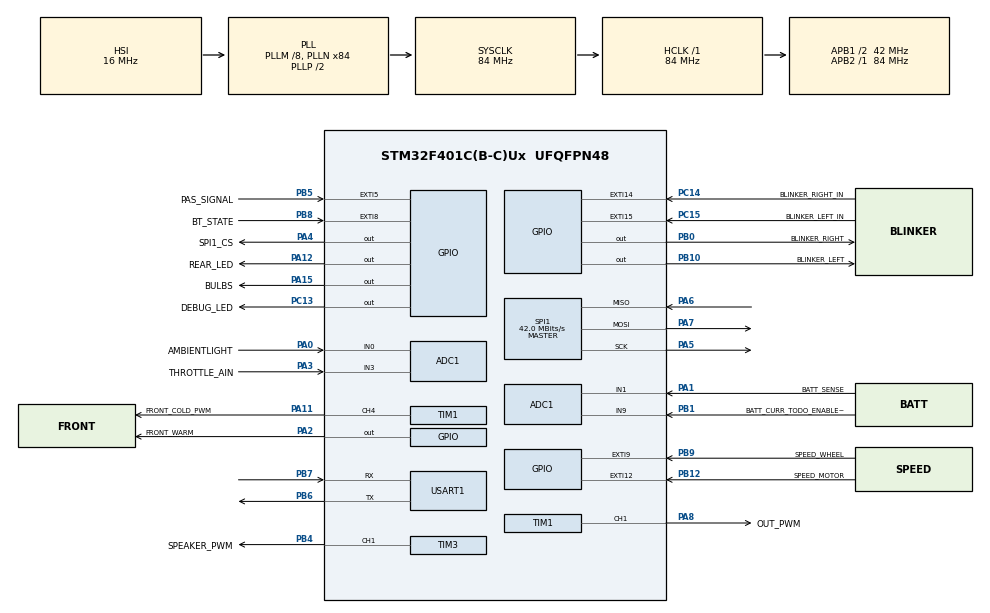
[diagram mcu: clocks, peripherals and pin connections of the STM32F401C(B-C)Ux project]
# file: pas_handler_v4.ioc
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ADC1.Channel-16\#ChannelRegularConversion=ADC_CHANNEL_1
ADC1.Channel-17\#ChannelRegularConversion=ADC_CHANNEL_0
ADC1.Channel-18\#ChannelRegularConversion=ADC_CHANNEL_3
ADC1.Channel-19\#ChannelRegularConversion=ADC_CHANNEL_9
ADC1.ClockPrescaler=ADC_CLOCK_SYNC_PCLK_DIV8
ADC1.ContinuousConvMode=ENABLE
ADC1.DMAContinuousRequests=ENABLE
ADC1.ExternalTrigConv=ADC_SOFTWARE_START
ADC1.NbrOfConversion=4
ADC1.NbrOfConversionFlag=1
ADC1.Rank-16\#ChannelRegularConversion=1
ADC1.Rank-17\#ChannelRegularConversion=2
ADC1.Rank-18\#ChannelRegularConversion=3
ADC1.Rank-19\#ChannelRegularConversion=4
ADC1.SamplingTime-16\#ChannelRegularConversion=ADC_SAMPLETIME_84CYCLES
ADC1.SamplingTime-17\#ChannelRegularConversion=ADC_SAMPLETIME_84CYCLES
ADC1.SamplingTime-18\#ChannelRegularConversion=ADC_SAMPLETIME_28CYCLES
ADC1.SamplingTime-19\#ChannelRegularConversion=ADC_SAMPLETIME_84CYCLES
ADC1.ScanConvMode=ENABLE
ADC1.master=1
Dma.ADC1.0.Direction=DMA_PERIPH_TO_MEMORY
Dma.ADC1.0.FIFOMode=DMA_FIFOMODE_DISABLE
Dma.ADC1.0.Instance=DMA2_Stream0
Dma.ADC1.0.MemDataAlignment=DMA_MDATAALIGN_HALFWORD
Dma.ADC1.0.MemInc=DMA_MINC_ENABLE
Dma.ADC1.0.Mode=DMA_CIRCULAR
Dma.ADC1.0.PeriphDataAlignment=DMA_PDATAALIGN_HALFWORD
Dma.ADC1.0.PeriphInc=DMA_PINC_DISABLE
Dma.ADC1.0.Priority=DMA_PRIORITY_LOW
Dma.Request0=ADC1
Mcu.Family=STM32F4
Mcu.Name=STM32F401C(B-C)Ux
Mcu.Package=UFQFPN48
NVIC.ADC_IRQn=true\:1\:0\:true\:false\:true\:true\:true\:true
NVIC.DMA2_Stream0_IRQn=true\:0\:0\:false\:false\:true\:false\:true\:true
NVIC.EXTI15_10_IRQn=true\:0\:0\:false\:false\:true\:true\:true\:true
NVIC.EXTI9_5_IRQn=true\:0\:0\:false\:false\:true\:true\:true\:true
NVIC.PriorityGroup=NVIC_PRIORITYGROUP_4
NVIC.USART1_IRQn=true\:0\:0\:false\:false\:true\:true\:true\:true
NimaLTD.I-CUBE-SPIF.2.3.2.DriverJjSPIF=true
NimaLTD.I-CUBE-SPIF.2.3.2.SPIF_PLATFORM=SPIF_PLATFORM_HAL
PA0-WKUP.GPIO_Label=AMBIENTLIGHT
PA0-WKUP.Signal=ADCx_IN0
PA1.GPIO_Label=BATT_SENSE
PA1.Signal=ADCx_IN1
PA11.GPIO_Label=FRONT_COLD_PWM
PA11.Signal=S_TIM1_CH4
PA12.GPIO_Label=REAR_LED
PA12.Signal=GPIO_Output
PA15.GPIO_Label=BULBS
PA15.Signal=GPIO_Output
PA2.GPIO_Label=FRONT_WARM
PA2.Signal=GPIO_Output
PA3.GPIO_Label=THROTTLE_AIN
PA3.Signal=ADCx_IN3
PA4.GPIO_Label=SPI1_CS
PA4.Signal=GPIO_Output
PA5.Mode=Full_Duplex_Master
PA5.Signal=SPI1_SCK
PA6.Mode=Full_Duplex_Master
PA6.Signal=SPI1_MISO
PA7.Mode=Full_Duplex_Master
PA7.Signal=SPI1_MOSI
PA8.GPIO_Label=OUT_PWM
PA8.GPIO_PuPd=GPIO_PULLDOWN
PA8.Signal=S_TIM1_CH1
PB0.GPIO_Label=BLINKER_RIGHT
PB0.GPIO_ModeDefaultOutputPP=GPIO_MODE_OUTPUT_OD
PB0.GPIO_PuPd=GPIO_NOPULL
PB0.PinState=GPIO_PIN_RESET
PB0.Signal=GPIO_Output
PB1.GPIO_Label=BATT_CURR_TODO_ENABLEME
PB1.Signal=ADCx_IN9
PB10.GPIO_Label=BLINKER_LEFT
PB10.GPIO_ModeDefaultOutputPP=GPIO_MODE_OUTPUT_OD
PB10.GPIO_PuPd=GPIO_NOPULL
PB10.PinState=GPIO_PIN_RESET
PB10.Signal=GPIO_Output
PB12.GPIO_Label=SPEED_MOTOR
PB12.GPIO_ModeDefaultEXTI=GPIO_MODE_IT_FALLING
PB12.GPIO_PuPd=GPIO_PULLUP
PB12.Signal=GPXTI12
PB4.GPIO_Label=SPEAKER_PWM
PB4.Signal=S_TIM3_CH1
PB5.GPIO_Label=PAS_SIGNAL
PB5.GPIO_PuPd=GPIO_PULLDOWN
PB5.Signal=GPXTI5
PB6.GPIO_PuPd=GPIO_PULLDOWN
PB6.Mode=Asynchronous
PB6.Signal=USART1_TX
PB7.GPIO_PuPd=GPIO_PULLDOWN
PB7.Mode=Asynchronous
PB7.Signal=USART1_RX
PB8.GPIO_Label=BT_STATE
PB8.GPIO_ModeDefaultEXTI=GPIO_MODE_IT_RISING_FALLING
PB8.GPIO_PuPd=GPIO_PULLDOWN
PB8.Signal=GPXTI8
PB9.GPIO_Label=SPEED_WHEEL
PB9.GPIO_ModeDefaultEXTI=GPIO_MODE_IT_RISING_FALLING
PB9.GPIO_PuPd=GPIO_PULLDOWN
PB9.Signal=GPXTI9
PC13-ANTI_TAMP.GPIO_Label=DEBUG_LED
PC13-ANTI_TAMP.Signal=GPIO_Output
PC14-OSC32_IN.GPIO_Label=BLINKER_RIGHT_IN
PC14-OSC32_IN.GPIO_ModeDefaultEXTI=GPIO_MODE_IT_RISING_FALLING
PC14-OSC32_IN.GPIO_PuPd=GPIO_PULLUP
PC14-OSC32_IN.Signal=GPXTI14
PC15-OSC32_OUT.GPIO_Label=BLINKER_LEFT_IN
PC15-OSC32_OUT.GPIO_ModeDefaultEXTI=GPIO_MODE_IT_RISING_FALLING
PC15-OSC32_OUT.GPIO_PuPd=GPIO_PULLUP
PC15-OSC32_OUT.Signal=GPXTI15
ProjectManager.HeapSize=0x200
ProjectManager.StackSize=0x400
ProjectManager.TargetToolchain=CMake
RCC.48MHZClocksFreq_Value=42000000
RCC.AHBFreq_Value=84000000
RCC.APB1CLKDivider=RCC_HCLK_DIV2
RCC.APB1Freq_Value=42000000
RCC.APB1TimFreq_Value=84000000
RCC.APB2Freq_Value=84000000
RCC.APB2TimFreq_Value=84000000
RCC.CortexFreq_Value=84000000
RCC.HCLKFreq_Value=84000000
RCC.HSE_VALUE=25000000
RCC.HSI_VALUE=16000000
RCC.LSE_VALUE=32768
RCC.PLLM=8
RCC.PLLN=84
RCC.SYSCLKFreq_VALUE=84000000
RCC.SYSCLKSource=RCC_SYSCLKSOURCE_PLLCLK
RCC.VCOOutputFreq_Value=168000000
SH.ADCx_IN0.0=ADC1_IN0,IN0
SH.ADCx_IN1.0=ADC1_IN1,IN1
SH.ADCx_IN3.0=ADC1_IN3,IN3
SH.ADCx_IN9.0=ADC1_IN9,IN9
SH.S_TIM1_CH1.0=TIM1_CH1,PWM Generation1 CH1
SH.S_TIM1_CH4.0=TIM1_CH4,PWM Generation4 CH4
SH.S_TIM3_CH1.0=TIM3_CH1,PWM Generation1 CH1
SPI1.BaudRatePrescaler=SPI_BAUDRATEPRESCALER_2
SPI1.CalculateBaudRate=42.0 MBits/s
SPI1.Direction=SPI_DIRECTION_2LINES
SPI1.Mode=SPI_MODE_MASTER
SPI1.VirtualType=VM_MASTER
TIM1.Channel-PWM\ Generation1\ CH1=TIM_CHANNEL_1
TIM1.Channel-PWM\ Generation4\ CH4=TIM_CHANNEL_4
TIM1.Period=1000-1
TIM1.Prescaler=84-1
TIM3.Channel-PWM\ Generation1\ CH1=TIM_CHANNEL_1
TIM3.Period=1000-1
TIM3.Pulse-PWM\ Generation1\ CH1=500
USART1.VirtualMode=VM_ASYNC
VP_NimaLTD.I-CUBE-SPIF_VS_DriverJjSPIF_1.0.0_2.3.2.Mode=DriverJjSPIF
VP_TIM1_VS_ClockSourceINT.Mode=Internal
VP_TIM3_VS_ClockSourceINT.Mode=Internal
board=custom

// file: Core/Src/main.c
/* USER CODE BEGIN Header */
/**
 ******************************************************************************
 * @file           : main.c
 * @brief          : Main program body
 ******************************************************************************
 * @attention
 *
 * Copyright (c) 2024 STMicroelectronics.
 * All rights reserved.
 *
 * This software is licensed under terms that can be found in the LICENSE file
 * in the root directory of this software component.
 * If no LICENSE file comes with this software, it is provided AS-IS.
 *
 ******************************************************************************
 */
/* USER CODE END Header */
#include "main.h"

/* USER CODE BEGIN Includes */
#include <stdbool.h>
#include <stdio.h>
#include <string.h>

#include "adc.h"
#include "animations.h"
#include "gpio.h"
#include "helpers.h"
#include "sounds.h"
#include "uart.h"
#include "blinkers.h"
#include "speedometer.h"
#include "bike.h"

/* USER CODE END Includes */

ADC_HandleTypeDef hadc1;
DMA_HandleTypeDef hdma_adc1;

SPI_HandleTypeDef hspi1;

TIM_HandleTypeDef htim1;
TIM_HandleTypeDef htim3;

UART_HandleTypeDef huart1;

void SystemClock_Config(void);
static void MX_GPIO_Init(void);
static void MX_DMA_Init(void);
static void MX_TIM1_Init(void);
static void MX_USART1_UART_Init(void);
static void MX_TIM3_Init(void);
static void MX_ADC1_Init(void);
static void MX_SPI1_Init(void);

/* USER CODE BEGIN 0 */
void HAL_GPIO_EXTI_Callback(uint16_t GPIO_Pin) {
  bike_handleGpioInterrupt(GPIO_Pin);
}

void HAL_UARTEx_RxEventCallback(UART_HandleTypeDef* huart, uint16_t size) {
  uart_handleRxInterrupt(huart, size);
}

void HAL_ADC_ConvCpltCallback(ADC_HandleTypeDef* hadc) {
  (void) hadc;
  adc_startMeasurement();
}

/* USER CODE END 0 */

int main(void)
{

  /* MCU Configuration--------------------------------------------------------*/

  /* Reset of all peripherals, Initializes the Flash interface and the Systick. */
  HAL_Init();

  /* Configure the system clock */
  SystemClock_Config();

  /* Initialize all configured peripherals */
  MX_GPIO_Init();
  MX_DMA_Init();
  MX_TIM1_Init();
  MX_USART1_UART_Init();
  MX_TIM3_Init();
  MX_ADC1_Init();
  MX_SPI1_Init();
  /* USER CODE BEGIN 2 */

  bike_init();

  /* USER CODE END 2 */

  /* Infinite loop */
  /* USER CODE BEGIN WHILE */

  while (1) {
    bike_proc();
    /* USER CODE END WHILE */

  }
}

void SystemClock_Config(void)
{
  RCC_OscInitTypeDef RCC_OscInitStruct = {0};
  RCC_ClkInitTypeDef RCC_ClkInitStruct = {0};

  /** Configure the main internal regulator output voltage
  */
  __HAL_RCC_PWR_CLK_ENABLE();
  __HAL_PWR_VOLTAGESCALING_CONFIG(PWR_REGULATOR_VOLTAGE_SCALE2);

  /** Initializes the RCC Oscillators according to the specified parameters
  * in the RCC_OscInitTypeDef structure.
  */
  RCC_OscInitStruct.OscillatorType = RCC_OSCILLATORTYPE_HSI;
  RCC_OscInitStruct.HSIState = RCC_HSI_ON;
  RCC_OscInitStruct.HSICalibrationValue = RCC_HSICALIBRATION_DEFAULT;
  RCC_OscInitStruct.PLL.PLLState = RCC_PLL_ON;
  RCC_OscInitStruct.PLL.PLLSource = RCC_PLLSOURCE_HSI;
  RCC_OscInitStruct.PLL.PLLM = 8;
  RCC_OscInitStruct.PLL.PLLN = 84;
  RCC_OscInitStruct.PLL.PLLP = RCC_PLLP_DIV2;
  RCC_OscInitStruct.PLL.PLLQ = 4;
  if (HAL_RCC_OscConfig(&RCC_OscInitStruct) != HAL_OK)
  {
    Error_Handler();
  }

  /** Initializes the CPU, AHB and APB buses clocks
  */
  RCC_ClkInitStruct.ClockType = RCC_CLOCKTYPE_HCLK|RCC_CLOCKTYPE_SYSCLK
                              |RCC_CLOCKTYPE_PCLK1|RCC_CLOCKTYPE_PCLK2;
  RCC_ClkInitStruct.SYSCLKSource = RCC_SYSCLKSOURCE_PLLCLK;
  RCC_ClkInitStruct.AHBCLKDivider = RCC_SYSCLK_DIV1;
  RCC_ClkInitStruct.APB1CLKDivider = RCC_HCLK_DIV2;
  RCC_ClkInitStruct.APB2CLKDivider = RCC_HCLK_DIV1;

  if (HAL_RCC_ClockConfig(&RCC_ClkInitStruct, FLASH_LATENCY_2) != HAL_OK)
  {
    Error_Handler();
  }
}

static void MX_ADC1_Init(void)
{

  ADC_ChannelConfTypeDef sConfig = {0};

  /** Configure the global features of the ADC (Clock, Resolution, Data Alignment and number of conversion)
  */
  hadc1.Instance = ADC1;
  hadc1.Init.ClockPrescaler = ADC_CLOCK_SYNC_PCLK_DIV8;
  hadc1.Init.Resolution = ADC_RESOLUTION_12B;
  hadc1.Init.ScanConvMode = ENABLE;
  hadc1.Init.ContinuousConvMode = ENABLE;
  hadc1.Init.DiscontinuousConvMode = DISABLE;
  hadc1.Init.ExternalTrigConvEdge = ADC_EXTERNALTRIGCONVEDGE_NONE;
  hadc1.Init.ExternalTrigConv = ADC_SOFTWARE_START;
  hadc1.Init.DataAlign = ADC_DATAALIGN_RIGHT;
  hadc1.Init.NbrOfConversion = 4;
  hadc1.Init.DMAContinuousRequests = ENABLE;
  hadc1.Init.EOCSelection = ADC_EOC_SINGLE_CONV;
  if (HAL_ADC_Init(&hadc1) != HAL_OK)
  {
    Error_Handler();
  }

  /** Configure for the selected ADC regular channel its corresponding rank in the sequencer and its sample time.
  */
  sConfig.Channel = ADC_CHANNEL_1;
  sConfig.Rank = 1;
  sConfig.SamplingTime = ADC_SAMPLETIME_84CYCLES;
  if (HAL_ADC_ConfigChannel(&hadc1, &sConfig) != HAL_OK)
  {
    Error_Handler();
  }

  /** Configure for the selected ADC regular channel its corresponding rank in the sequencer and its sample time.
  */
  sConfig.Channel = ADC_CHANNEL_0;
  sConfig.Rank = 2;
  if (HAL_ADC_ConfigChannel(&hadc1, &sConfig) != HAL_OK)
  {
    Error_Handler();
  }

  /** Configure for the selected ADC regular channel its corresponding rank in the sequencer and its sample time.
  */
  sConfig.Channel = ADC_CHANNEL_3;
  sConfig.Rank = 3;
  sConfig.SamplingTime = ADC_SAMPLETIME_28CYCLES;
  if (HAL_ADC_ConfigChannel(&hadc1, &sConfig) != HAL_OK)
  {
    Error_Handler();
  }

  /** Configure for the selected ADC regular channel its corresponding rank in the sequencer and its sample time.
  */
  sConfig.Channel = ADC_CHANNEL_9;
  sConfig.Rank = 4;
  sConfig.SamplingTime = ADC_SAMPLETIME_84CYCLES;
  if (HAL_ADC_ConfigChannel(&hadc1, &sConfig) != HAL_OK)
  {
    Error_Handler();
  }

}

static void MX_SPI1_Init(void)
{

  /* SPI1 parameter configuration*/
  hspi1.Instance = SPI1;
  hspi1.Init.Mode = SPI_MODE_MASTER;
  hspi1.Init.Direction = SPI_DIRECTION_2LINES;
  hspi1.Init.DataSize = SPI_DATASIZE_8BIT;
  hspi1.Init.CLKPolarity = SPI_POLARITY_LOW;
  hspi1.Init.CLKPhase = SPI_PHASE_1EDGE;
  hspi1.Init.NSS = SPI_NSS_SOFT;
  hspi1.Init.BaudRatePrescaler = SPI_BAUDRATEPRESCALER_2;
  hspi1.Init.FirstBit = SPI_FIRSTBIT_MSB;
  hspi1.Init.TIMode = SPI_TIMODE_DISABLE;
  hspi1.Init.CRCCalculation = SPI_CRCCALCULATION_DISABLE;
  hspi1.Init.CRCPolynomial = 10;
  if (HAL_SPI_Init(&hspi1) != HAL_OK)
  {
    Error_Handler();
  }

}

static void MX_TIM1_Init(void)
{

  TIM_ClockConfigTypeDef sClockSourceConfig = {0};
  TIM_MasterConfigTypeDef sMasterConfig = {0};
  TIM_OC_InitTypeDef sConfigOC = {0};
  TIM_BreakDeadTimeConfigTypeDef sBreakDeadTimeConfig = {0};

  htim1.Instance = TIM1;
  htim1.Init.Prescaler = 84-1;
  htim1.Init.CounterMode = TIM_COUNTERMODE_UP;
  htim1.Init.Period = 1000-1;
  htim1.Init.ClockDivision = TIM_CLOCKDIVISION_DIV1;
  htim1.Init.RepetitionCounter = 0;
  htim1.Init.AutoReloadPreload = TIM_AUTORELOAD_PRELOAD_DISABLE;
  if (HAL_TIM_Base_Init(&htim1) != HAL_OK)
  {
    Error_Handler();
  }
  sClockSourceConfig.ClockSource = TIM_CLOCKSOURCE_INTERNAL;
  if (HAL_TIM_ConfigClockSource(&htim1, &sClockSourceConfig) != HAL_OK)
  {
    Error_Handler();
  }
  if (HAL_TIM_PWM_Init(&htim1) != HAL_OK)
  {
    Error_Handler();
  }
  sMasterConfig.MasterOutputTrigger = TIM_TRGO_RESET;
  sMasterConfig.MasterSlaveMode = TIM_MASTERSLAVEMODE_DISABLE;
  if (HAL_TIMEx_MasterConfigSynchronization(&htim1, &sMasterConfig) != HAL_OK)
  {
    Error_Handler();
  }
  sConfigOC.OCMode = TIM_OCMODE_PWM1;
  sConfigOC.Pulse = 0;
  sConfigOC.OCPolarity = TIM_OCPOLARITY_HIGH;
  sConfigOC.OCNPolarity = TIM_OCNPOLARITY_HIGH;
  sConfigOC.OCFastMode = TIM_OCFAST_DISABLE;
  sConfigOC.OCIdleState = TIM_OCIDLESTATE_RESET;
  sConfigOC.OCNIdleState = TIM_OCNIDLESTATE_RESET;
  if (HAL_TIM_PWM_ConfigChannel(&htim1, &sConfigOC, TIM_CHANNEL_1) != HAL_OK)
  {
    Error_Handler();
  }
  if (HAL_TIM_PWM_ConfigChannel(&htim1, &sConfigOC, TIM_CHANNEL_4) != HAL_OK)
  {
    Error_Handler();
  }
  sBreakDeadTimeConfig.OffStateRunMode = TIM_OSSR_DISABLE;
  sBreakDeadTimeConfig.OffStateIDLEMode = TIM_OSSI_DISABLE;
  sBreakDeadTimeConfig.LockLevel = TIM_LOCKLEVEL_OFF;
  sBreakDeadTimeConfig.DeadTime = 0;
  sBreakDeadTimeConfig.BreakState = TIM_BREAK_DISABLE;
  sBreakDeadTimeConfig.BreakPolarity = TIM_BREAKPOLARITY_HIGH;
  sBreakDeadTimeConfig.AutomaticOutput = TIM_AUTOMATICOUTPUT_DISABLE;
  if (HAL_TIMEx_ConfigBreakDeadTime(&htim1, &sBreakDeadTimeConfig) != HAL_OK)
  {
    Error_Handler();
  }
  HAL_TIM_MspPostInit(&htim1);

}

static void MX_TIM3_Init(void)
{

  TIM_ClockConfigTypeDef sClockSourceConfig = {0};
  TIM_MasterConfigTypeDef sMasterConfig = {0};
  TIM_OC_InitTypeDef sConfigOC = {0};

  htim3.Instance = TIM3;
  htim3.Init.Prescaler = 0;
  htim3.Init.CounterMode = TIM_COUNTERMODE_UP;
  htim3.Init.Period = 1000-1;
  htim3.Init.ClockDivision = TIM_CLOCKDIVISION_DIV1;
  htim3.Init.AutoReloadPreload = TIM_AUTORELOAD_PRELOAD_DISABLE;
  if (HAL_TIM_Base_Init(&htim3) != HAL_OK)
  {
    Error_Handler();
  }
  sClockSourceConfig.ClockSource = TIM_CLOCKSOURCE_INTERNAL;
  if (HAL_TIM_ConfigClockSource(&htim3, &sClockSourceConfig) != HAL_OK)
  {
    Error_Handler();
  }
  if (HAL_TIM_PWM_Init(&htim3) != HAL_OK)
  {
    Error_Handler();
  }
  sMasterConfig.MasterOutputTrigger = TIM_TRGO_RESET;
  sMasterConfig.MasterSlaveMode = TIM_MASTERSLAVEMODE_DISABLE;
  if (HAL_TIMEx_MasterConfigSynchronization(&htim3, &sMasterConfig) != HAL_OK)
  {
    Error_Handler();
  }
  sConfigOC.OCMode = TIM_OCMODE_PWM1;
  sConfigOC.Pulse = 500;
  sConfigOC.OCPolarity = TIM_OCPOLARITY_HIGH;
  sConfigOC.OCFastMode = TIM_OCFAST_DISABLE;
  if (HAL_TIM_PWM_ConfigChannel(&htim3, &sConfigOC, TIM_CHANNEL_1) != HAL_OK)
  {
    Error_Handler();
  }
  HAL_TIM_MspPostInit(&htim3);

}

static void MX_USART1_UART_Init(void)
{

  huart1.Instance = USART1;
  huart1.Init.BaudRate = 115200;
  huart1.Init.WordLength = UART_WORDLENGTH_8B;
  huart1.Init.StopBits = UART_STOPBITS_1;
  huart1.Init.Parity = UART_PARITY_NONE;
  huart1.Init.Mode = UART_MODE_TX_RX;
  huart1.Init.HwFlowCtl = UART_HWCONTROL_NONE;
  huart1.Init.OverSampling = UART_OVERSAMPLING_16;
  if (HAL_UART_Init(&huart1) != HAL_OK)
  {
    Error_Handler();
  }

}

static void MX_DMA_Init(void)
{

  /* DMA controller clock enable */
  __HAL_RCC_DMA2_CLK_ENABLE();

  /* DMA interrupt init */
  /* DMA2_Stream0_IRQn interrupt configuration */
  HAL_NVIC_SetPriority(DMA2_Stream0_IRQn, 0, 0);
  HAL_NVIC_EnableIRQ(DMA2_Stream0_IRQn);

}

static void MX_GPIO_Init(void)
{
  GPIO_InitTypeDef GPIO_InitStruct = {0};

  /* GPIO Ports Clock Enable */
  __HAL_RCC_GPIOC_CLK_ENABLE();
  __HAL_RCC_GPIOA_CLK_ENABLE();
  __HAL_RCC_GPIOB_CLK_ENABLE();

  /*Configure GPIO pin Output Level */
  HAL_GPIO_WritePin(DEBUG_LED_GPIO_Port, DEBUG_LED_Pin, GPIO_PIN_RESET);

  /*Configure GPIO pin Output Level */
  HAL_GPIO_WritePin(GPIOA, FRONT_WARM_Pin|SPI1_CS_Pin|REAR_LED_Pin|BULBS_Pin, GPIO_PIN_RESET);

  /*Configure GPIO pin Output Level */
  HAL_GPIO_WritePin(GPIOB, BLINKER_RIGHT_Pin|BLINKER_LEFT_Pin, GPIO_PIN_RESET);

  /*Configure GPIO pin : DEBUG_LED_Pin */
  GPIO_InitStruct.Pin = DEBUG_LED_Pin;
  GPIO_InitStruct.Mode = GPIO_MODE_OUTPUT_PP;
  GPIO_InitStruct.Pull = GPIO_NOPULL;
  GPIO_InitStruct.Speed = GPIO_SPEED_FREQ_LOW;
  HAL_GPIO_Init(DEBUG_LED_GPIO_Port, &GPIO_InitStruct);

  /*Configure GPIO pins : BLINKER_RIGHT_IN_Pin BLINKER_LEFT_IN_Pin */
  GPIO_InitStruct.Pin = BLINKER_RIGHT_IN_Pin|BLINKER_LEFT_IN_Pin;
  GPIO_InitStruct.Mode = GPIO_MODE_IT_RISING_FALLING;
  GPIO_InitStruct.Pull = GPIO_PULLUP;
  HAL_GPIO_Init(GPIOC, &GPIO_InitStruct);

  /*Configure GPIO pins : FRONT_WARM_Pin SPI1_CS_Pin REAR_LED_Pin BULBS_Pin */
  GPIO_InitStruct.Pin = FRONT_WARM_Pin|SPI1_CS_Pin|REAR_LED_Pin|BULBS_Pin;
  GPIO_InitStruct.Mode = GPIO_MODE_OUTPUT_PP;
  GPIO_InitStruct.Pull = GPIO_NOPULL;
  GPIO_InitStruct.Speed = GPIO_SPEED_FREQ_LOW;
  HAL_GPIO_Init(GPIOA, &GPIO_InitStruct);

  /*Configure GPIO pins : BLINKER_RIGHT_Pin BLINKER_LEFT_Pin */
  GPIO_InitStruct.Pin = BLINKER_RIGHT_Pin|BLINKER_LEFT_Pin;
  GPIO_InitStruct.Mode = GPIO_MODE_OUTPUT_OD;
  GPIO_InitStruct.Pull = GPIO_NOPULL;
  GPIO_InitStruct.Speed = GPIO_SPEED_FREQ_LOW;
  HAL_GPIO_Init(GPIOB, &GPIO_InitStruct);

  /*Configure GPIO pin : SPEED_MOTOR_Pin */
  GPIO_InitStruct.Pin = SPEED_MOTOR_Pin;
  GPIO_InitStruct.Mode = GPIO_MODE_IT_FALLING;
  GPIO_InitStruct.Pull = GPIO_PULLUP;
  HAL_GPIO_Init(SPEED_MOTOR_GPIO_Port, &GPIO_InitStruct);

  /*Configure GPIO pin : PAS_SIGNAL_Pin */
  GPIO_InitStruct.Pin = PAS_SIGNAL_Pin;
  GPIO_InitStruct.Mode = GPIO_MODE_IT_RISING;
  GPIO_InitStruct.Pull = GPIO_PULLDOWN;
  HAL_GPIO_Init(PAS_SIGNAL_GPIO_Port, &GPIO_InitStruct);

  /*Configure GPIO pins : BT_STATE_Pin SPEED_WHEEL_Pin */
  GPIO_InitStruct.Pin = BT_STATE_Pin|SPEED_WHEEL_Pin;
  GPIO_InitStruct.Mode = GPIO_MODE_IT_RISING_FALLING;
  GPIO_InitStruct.Pull = GPIO_PULLDOWN;
  HAL_GPIO_Init(GPIOB, &GPIO_InitStruct);

  /* EXTI interrupt init*/
  HAL_NVIC_SetPriority(EXTI9_5_IRQn, 0, 0);
  HAL_NVIC_EnableIRQ(EXTI9_5_IRQn);

  HAL_NVIC_SetPriority(EXTI15_10_IRQn, 0, 0);
  HAL_NVIC_EnableIRQ(EXTI15_10_IRQn);

}

void Error_Handler(void)
{
  /* USER CODE BEGIN Error_Handler_Debug */
  /* User can add his own implementation to report the HAL error return state
   */
  __disable_irq();
  while (1) {
  }
  /* USER CODE END Error_Handler_Debug */
}

#ifdef  USE_FULL_ASSERT
/**
  * @brief  Reports the name of the source file and the source line number
  *         where the assert_param error has occurred.
  * @param  file: pointer to the source file name
  * @param  line: assert_param error line source number
  * @retval None
  */
void assert_failed(uint8_t *file, uint32_t line)
{
  /* USER CODE BEGIN 6 */
  /* User can add his own implementation to report the file name and line
     number, ex: printf("Wrong parameters value: file %s on line %d\r\n", file,
     line) */
  /* USER CODE END 6 */
}
#endif /* USE_FULL_ASSERT */
